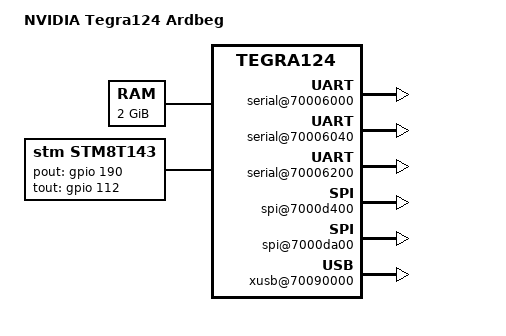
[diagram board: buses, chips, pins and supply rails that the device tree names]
/**
 * Common dtsi file for tegra124-ardbeg-e1780-1000-a03 varients.
 */

#include "tegra124.dtsi"
#include "tegra124-platforms/tegra124-ardbeg-powermon-e1780-1000-a01.dtsi"
#include "tegra124-platforms/tegra124-tn8-gpio-e1780-1100-a02.dtsi"
#include "tegra124-platforms/tegra124-tn8-pinmux-e1780-1100-a02.dtsi"
#include "tegra124-platforms/tegra124-tn8-keys-e1780-1100-a02.dtsi"
#include "tegra124-platforms/tegra124-tn8-camera-e1780-a00.dtsi"

/ {
	model = "NVIDIA Tegra124 Ardbeg";
	compatible = "nvidia,ardbeg", "nvidia,tegra124";
	nvidia,boardids = "1780:1000:3:B:3";

	#address-cells = <2>;
	#size-cells = <2>;

	chosen {
		bootargs = "tegraid=40.0.0.00.00 vmalloc=256M video=tegrafb console=ttyS0,115200n8 earlyprintk";
		linux,initrd-start = <0x85000000>;
		linux,initrd-end = <0x851bc400>;
	};

        serial@70006000 {
                compatible = "nvidia,tegra114-hsuart";
                status = "okay";
        };

        serial@70006040 {
                compatible = "nvidia,tegra114-hsuart";
                status = "okay";
        };

        serial@70006200 {
                compatible = "nvidia,tegra114-hsuart";
                status = "okay";
        };

	memory@0x80000000 {
		device_type = "memory";
		reg = <0x0 0x80000000 0x0 0x80000000>;
	};

	i2c@7000c400 {
		bq20z75@0b {
			compatible = "sbs,sbs-battery";
			reg = <0x0b>;
			status = "disabled";
			sbs,i2c-retry-count = <2>;
			sbs,poll-retry-count = <100>;
		};

		bq2477x@6a {
			compatible = "ti,bq2477x";
			reg = <0x6a>;
			status = "disabled";
			ti,dac-ichg = <2240>;
			ti,dac-v = <9008>;
			ti,dac-minsv = <4608>;
			ti,dac-iin = <4992>;
			ti,wdt-refresh-timeout = <40>;
			ti,charger-detect-gpio-active-low = <1>;
			charger-detect-gpio = <&gpio TEGRA_GPIO(J, 0) 0>;
		};
	};

	i2c@7000d000 {
		nvidia,bit-banging-xfer-after-shutdown;
	};

	spi@7000d400 {
		status = "okay";
		spi-max-frequency = <25000000>;
	};

	spi@7000da00 {
		status = "okay";
		spi-max-frequency = <25000000>;
	};

	pmc {
		status = "okay";
		nvidia,invert-interrupt;
		nvidia,suspend-mode = <0>;
		nvidia,cpu-pwr-good-time = <500>;
		nvidia,cpu-pwr-off-time = <300>;
		nvidia,core-pwr-good-time = <3845 3845>;
		nvidia,core-pwr-off-time = <2000>;
		nvidia,core-power-req-active-high;
		nvidia,sys-clock-req-active-high;
	};

	stm8t143 {
		compatible = "stm,stm8t143";
		pout-gpio = <&gpio 190 0>;
		tout-gpio = <&gpio 112 0>;
	};

	xusb@70090000 {
		/* nvidia,uses_external_pmic;
		nvidia,gpio_controls_muxed_ss_lanes; */
		nvidia,gpio_ss1_sata = <0>;
		nvidia,portmap = <0x703>; /* SSP0, SSP1 USB2P0, USB2P1, USBP2 */
		nvidia,ss_portmap = <0x20>; /* SSP0 on USB2P0, SSP1 on USB2P2 */
		nvidia,lane_owner = <6>; /* USB3P0 USB3P1 */
		nvidia,ulpicap = <0>; /* No ulpi support. can we remove */
		nvidia,supply_utmi_vbuses = "usb_vbus0", "usb_vbus1", "usb_vbus2";
		nvidia,supply_s3p3v = "hvdd_usb";
		nvidia,supply_s1p8v = "avdd_pll_utmip";
		nvidia,supply_vddio_hsic = "vddio_hsic";
		nvidia,supply_s1p05v = "avddio_usb";
		/* hsic config values in order defined in structure */
		nvidia,hsic0 = /bits/8 <0x1 0x1 0x8 0xa 0 0 1 0x22 0>;
		status = "okay";
	};
};
